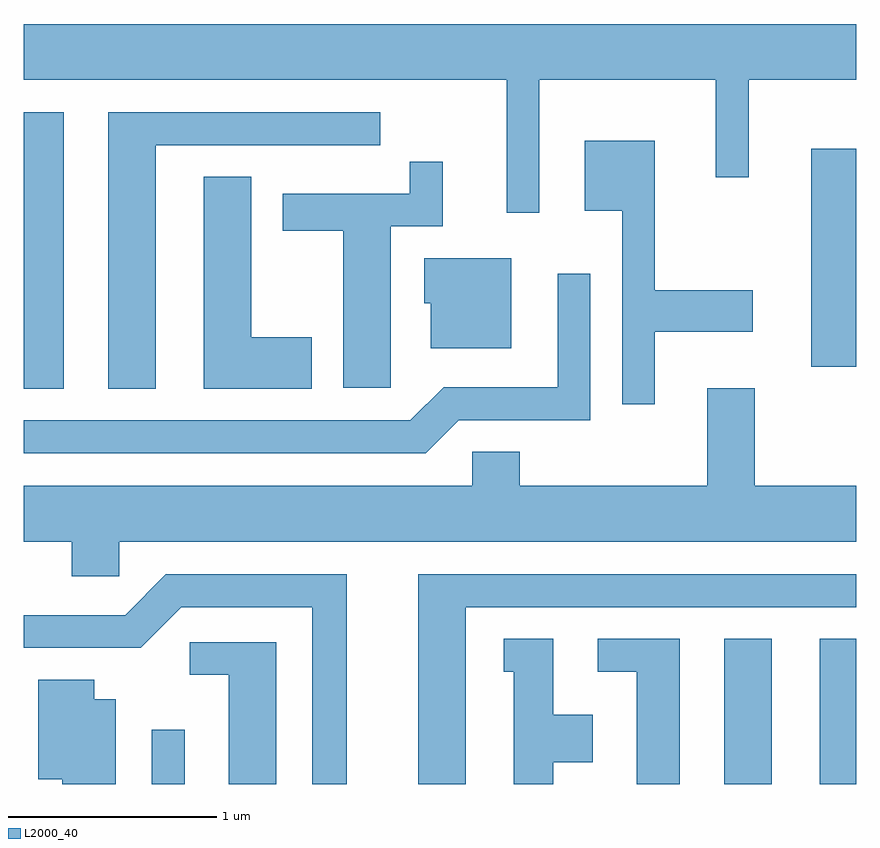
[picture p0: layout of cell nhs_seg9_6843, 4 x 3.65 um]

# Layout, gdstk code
import gdstk
lib = gdstk.Library(unit=1e-6, precision=1e-09)
def R(c, l, rs):  # rectangles x0, y0, x1, y1
    for r in rs: c.add(gdstk.rectangle(r[:2], r[2:], *l))
def P(c, l, *ps):  # polygons
    for p in ps: c.add(gdstk.Polygon(p, *l))
L2000_40 = (2000, 40)

nhs_seg9_6843 = lib.new_cell('nhs_seg9_6843')
R(nhs_seg9_6843, L2000_40, [(388.226,1988.432,388.384,1988.693), (390.976,1988.432,391.204,1989.129), (391.436,1988.432,391.611,1989.129), (387.611,1990.331,387.804,1991.659), (391.396,1990.436,391.611,1991.484)])
P(nhs_seg9_6843, L2000_40, [(390.089,1991.816),(390.936,1991.816),(390.936,1991.348),(391.094,1991.348),(391.094,1991.816),(391.611,1991.816),(391.611,1992.084),(387.611,1992.084),(387.611,1991.816),(389.931,1991.816),(389.931,1991.178),(390.089,1991.178)],
  [(388.244,1991.501),(389.323,1991.501),(389.323,1991.659),(388.016,1991.659),(388.016,1990.331),(388.244,1990.331)],
  [(390.644,1990.606),(391.114,1990.606),(391.114,1990.804),(390.644,1990.804),(390.644,1991.524),(390.306,1991.524),(390.306,1991.186),(390.486,1991.186),(390.486,1990.258),(390.644,1990.258)],
  [(389.374,1991.111),(389.624,1991.111),(389.624,1991.423),(389.466,1991.423),(389.466,1991.269),(388.856,1991.269),(388.856,1991.091),(389.146,1991.091),(389.146,1990.336),(389.374,1990.336)],
  [(388.994,1990.579),(388.704,1990.579),(388.704,1991.349),(388.476,1991.349),(388.476,1990.331),(388.994,1990.331)],
  [(389.954,1990.959),(389.536,1990.959),(389.536,1990.741),(389.566,1990.741),(389.566,1990.526),(389.954,1990.526)],
  [(389.702,1990.181),(390.334,1990.181),(390.334,1990.883),(390.176,1990.883),(390.176,1990.339),(389.629,1990.339),(389.469,1990.179),(387.611,1990.179),(387.611,1990.021),(389.542,1990.021)],
  [(388.069,1989.596),(391.611,1989.596),(391.611,1989.864),(391.124,1989.864),(391.124,1990.334),(390.896,1990.334),(390.896,1989.864),(389.994,1989.864),(389.994,1990.029),(389.766,1990.029),(389.766,1989.864),(387.611,1989.864),(387.611,1989.596),(387.841,1989.596),(387.841,1989.431),(388.069,1989.431)],
  [(389.734,1989.281),(391.611,1989.281),(391.611,1989.439),(389.506,1989.439),(389.506,1988.432),(389.734,1988.432)],
  [(389.164,1989.439),(388.294,1989.439),(388.099,1989.244),(387.611,1989.244),(387.611,1989.086),(388.172,1989.086),(388.367,1989.281),(388.996,1989.281),(388.996,1988.432),(389.164,1988.432)],
  [(390.154,1988.536),(390.344,1988.536),(390.344,1988.764),(390.154,1988.764),(390.154,1989.129),(389.918,1989.129),(389.918,1988.971),(389.966,1988.971),(389.966,1988.432),(390.154,1988.432)],
  [(390.764,1989.129),(390.368,1989.129),(390.368,1988.971),(390.556,1988.971),(390.556,1988.432),(390.764,1988.432)],
  [(388.824,1989.114),(388.408,1989.114),(388.408,1988.956),(388.596,1988.956),(388.596,1988.432),(388.824,1988.432)],
  [(388.054,1988.839),(387.949,1988.839),(387.949,1988.934),(387.681,1988.934),(387.681,1988.456),(387.796,1988.456),(387.796,1988.432),(388.054,1988.432)])

lib.write_gds('nhs_seg9_6843.gds')
